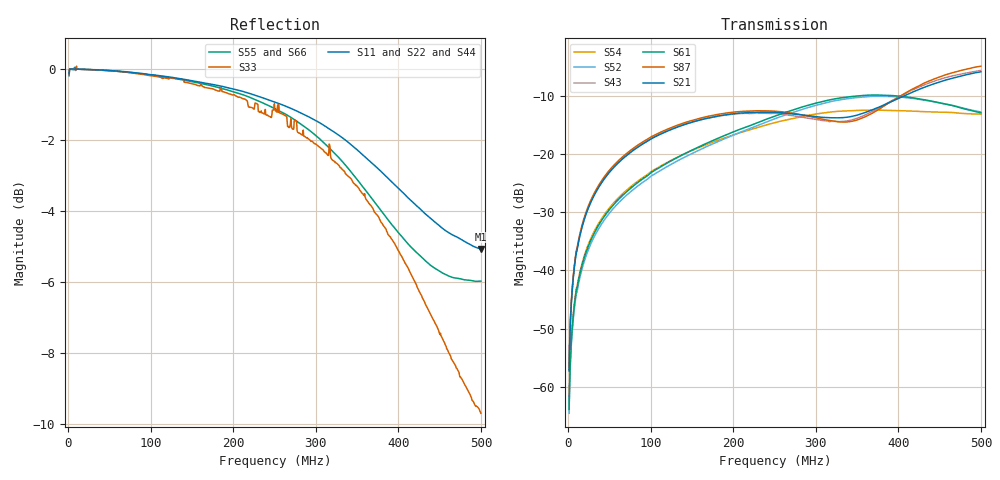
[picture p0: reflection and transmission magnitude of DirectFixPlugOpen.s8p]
!Agilent Technologies,M9370A,MY54322275,A.02.50.04
!Agilent M9370A: A.02.50.04
!Date: Friday, April 06, 2018 11:01:09
!Correction: S11(Full 8 Port(1,2,3,4,5,6,7,8))
!S12(Full 8 Port(1,2,3,4,5,6,7,8))
!S13(Full 8 Port(1,2,3,4,5,6,7,8))
!S14(Full 8 Port(1,2,3,4,5,6,7,8))
!S15(Full 8 Port(1,2,3,4,5,6,7,8))
!S16(Full 8 Port(1,2,3,4,5,6,7,8))
!S17(Full 8 Port(1,2,3,4,5,6,7,8))
!S18(Full 8 Port(1,2,3,4,5,6,7,8))
!S21(Full 8 Port(1,2,3,4,5,6,7,8))
!S22(Full 8 Port(1,2,3,4,5,6,7,8))
!S23(Full 8 Port(1,2,3,4,5,6,7,8))
!S24(Full 8 Port(1,2,3,4,5,6,7,8))
!S25(Full 8 Port(1,2,3,4,5,6,7,8))
!S26(Full 8 Port(1,2,3,4,5,6,7,8))
!S27(Full 8 Port(1,2,3,4,5,6,7,8))
!S28(Full 8 Port(1,2,3,4,5,6,7,8))
!S31(Full 8 Port(1,2,3,4,5,6,7,8))
!S32(Full 8 Port(1,2,3,4,5,6,7,8))
!S33(Full 8 Port(1,2,3,4,5,6,7,8))
!S34(Full 8 Port(1,2,3,4,5,6,7,8))
!S35(Full 8 Port(1,2,3,4,5,6,7,8))
!S36(Full 8 Port(1,2,3,4,5,6,7,8))
!S37(Full 8 Port(1,2,3,4,5,6,7,8))
!S38(Full 8 Port(1,2,3,4,5,6,7,8))
!S41(Full 8 Port(1,2,3,4,5,6,7,8))
!S42(Full 8 Port(1,2,3,4,5,6,7,8))
!S43(Full 8 Port(1,2,3,4,5,6,7,8))
!S44(Full 8 Port(1,2,3,4,5,6,7,8))
!S45(Full 8 Port(1,2,3,4,5,6,7,8))
!S46(Full 8 Port(1,2,3,4,5,6,7,8))
!S47(Full 8 Port(1,2,3,4,5,6,7,8))
!S48(Full 8 Port(1,2,3,4,5,6,7,8))
!S51(Full 8 Port(1,2,3,4,5,6,7,8))
!S52(Full 8 Port(1,2,3,4,5,6,7,8))
!S53(Full 8 Port(1,2,3,4,5,6,7,8))
!S54(Full 8 Port(1,2,3,4,5,6,7,8))
!S55(Full 8 Port(1,2,3,4,5,6,7,8))
!S56(Full 8 Port(1,2,3,4,5,6,7,8))
!S57(Full 8 Port(1,2,3,4,5,6,7,8))
!S58(Full 8 Port(1,2,3,4,5,6,7,8))
!S61(Full 8 Port(1,2,3,4,5,6,7,8))
!S62(Full 8 Port(1,2,3,4,5,6,7,8))
!S63(Full 8 Port(1,2,3,4,5,6,7,8))
!S64(Full 8 Port(1,2,3,4,5,6,7,8))
!S65(Full 8 Port(1,2,3,4,5,6,7,8))
!S66(Full 8 Port(1,2,3,4,5,6,7,8))
!S67(Full 8 Port(1,2,3,4,5,6,7,8))
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# Hz S  RI  R 50
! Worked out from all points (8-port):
!   1000 points, 1 MHz to 500 MHz, reference 50 ohm
!   strongest paths, dB at 1 MHz, 125.9 MHz, 250.7 MHz, 375.6 MHz, 500 MHz:
!     S21: -57.3, -15.7, -12.8, -12.0, -5.9
!     S87: -57.0, -15.4, -12.6, -12.4, -4.9
!     S61: -63.9, -21.1, -13.4, -9.8, -12.9
!     S43: -57.2, -15.6, -13.0, -12.1, -5.6
!     S52: -64.5, -21.7, -13.9, -10.1, -12.8
!     S54: -63.6, -21.0, -14.6, -12.5, -13.1
!   lowest |S11| = -5.1 dB at 500 MHz (marker M1), VSWR 3.53, Z = 15 + j11.4 ohm
!   |S11| at or under -10 dB: nowhere
